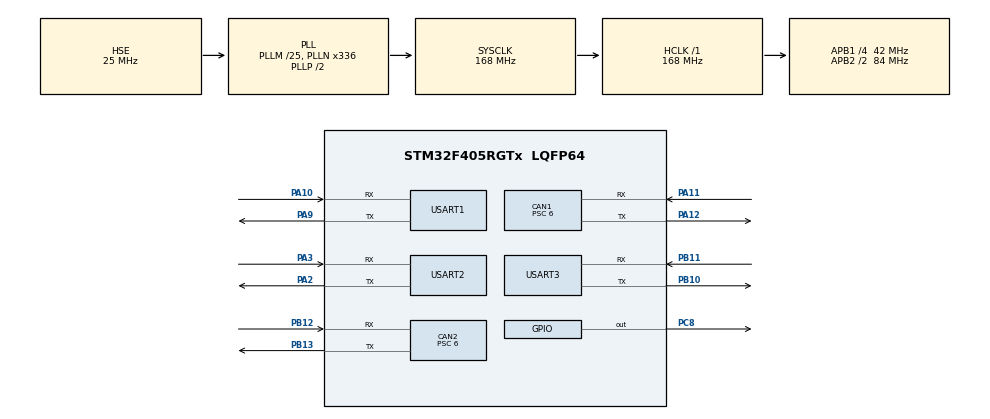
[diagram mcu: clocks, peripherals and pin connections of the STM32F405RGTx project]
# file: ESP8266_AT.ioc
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CAN1.BS1=CAN_BS1_4TQ
CAN1.BS2=CAN_BS2_2TQ
CAN1.CalculateBaudRate=1000000
CAN1.CalculateTimeBit=1000
CAN1.CalculateTimeQuantum=142.85714285714286
CAN1.Prescaler=6
CAN2.BS1=CAN_BS1_4TQ
CAN2.BS2=CAN_BS2_2TQ
CAN2.CalculateBaudRate=1000000
CAN2.CalculateTimeBit=1000
CAN2.CalculateTimeQuantum=142.85714285714286
CAN2.Prescaler=6
Dma.Request0=USART2_RX
Dma.Request1=USART2_TX
Dma.Request2=USART1_RX
Dma.USART1_RX.2.Direction=DMA_PERIPH_TO_MEMORY
Dma.USART1_RX.2.FIFOMode=DMA_FIFOMODE_DISABLE
Dma.USART1_RX.2.Instance=DMA2_Stream2
Dma.USART1_RX.2.MemDataAlignment=DMA_MDATAALIGN_BYTE
Dma.USART1_RX.2.MemInc=DMA_MINC_ENABLE
Dma.USART1_RX.2.Mode=DMA_CIRCULAR
Dma.USART1_RX.2.PeriphDataAlignment=DMA_PDATAALIGN_BYTE
Dma.USART1_RX.2.PeriphInc=DMA_PINC_DISABLE
Dma.USART1_RX.2.Priority=DMA_PRIORITY_LOW
Dma.USART2_RX.0.Direction=DMA_PERIPH_TO_MEMORY
Dma.USART2_RX.0.FIFOMode=DMA_FIFOMODE_DISABLE
Dma.USART2_RX.0.Instance=DMA1_Stream5
Dma.USART2_RX.0.MemDataAlignment=DMA_MDATAALIGN_BYTE
Dma.USART2_RX.0.MemInc=DMA_MINC_ENABLE
Dma.USART2_RX.0.Mode=DMA_CIRCULAR
Dma.USART2_RX.0.PeriphDataAlignment=DMA_PDATAALIGN_BYTE
Dma.USART2_RX.0.PeriphInc=DMA_PINC_DISABLE
Dma.USART2_RX.0.Priority=DMA_PRIORITY_LOW
Dma.USART2_TX.1.Direction=DMA_MEMORY_TO_PERIPH
Dma.USART2_TX.1.FIFOMode=DMA_FIFOMODE_DISABLE
Dma.USART2_TX.1.Instance=DMA1_Stream6
Dma.USART2_TX.1.MemDataAlignment=DMA_MDATAALIGN_BYTE
Dma.USART2_TX.1.MemInc=DMA_MINC_ENABLE
Dma.USART2_TX.1.Mode=DMA_NORMAL
Dma.USART2_TX.1.PeriphDataAlignment=DMA_PDATAALIGN_BYTE
Dma.USART2_TX.1.PeriphInc=DMA_PINC_DISABLE
Dma.USART2_TX.1.Priority=DMA_PRIORITY_LOW
FREERTOS.Tasks01=flag_master,24,256,Start_flag_master,Default,NULL,Dynamic,NULL,NULL;moving_ctrl_det,24,512,Start_moving_ctrl_detect,Default,NULL,Dynamic,NULL,NULL
Mcu.Family=STM32F4
Mcu.Name=STM32F405RGTx
Mcu.Package=LQFP64
NVIC.CAN1_RX1_IRQn=true\:5\:0\:false\:false\:true\:true\:true\:true\:true
NVIC.CAN1_SCE_IRQn=true\:5\:0\:false\:false\:true\:true\:true\:true\:true
NVIC.CAN2_RX1_IRQn=true\:5\:0\:false\:false\:true\:true\:true\:true\:true
NVIC.CAN2_SCE_IRQn=true\:5\:0\:false\:false\:true\:true\:true\:true\:true
NVIC.DMA1_Stream5_IRQn=true\:5\:0\:false\:false\:true\:true\:false\:true\:true
NVIC.DMA1_Stream6_IRQn=true\:5\:0\:false\:false\:true\:true\:false\:true\:true
NVIC.DMA2_Stream2_IRQn=true\:5\:0\:false\:false\:true\:true\:false\:true\:true
NVIC.PriorityGroup=NVIC_PRIORITYGROUP_4
NVIC.RCC_IRQn=true\:5\:0\:false\:false\:true\:true\:true\:false\:true
NVIC.TIM2_IRQn=true\:15\:0\:false\:false\:true\:false\:true\:true\:true
NVIC.TimeBase=TIM2_IRQn
NVIC.TimeBaseIP=TIM2
NVIC.USART1_IRQn=true\:5\:0\:false\:false\:true\:true\:true\:true\:true
NVIC.USART2_IRQn=true\:5\:0\:false\:false\:true\:true\:true\:true\:true
NVIC.USART3_IRQn=true\:5\:0\:false\:false\:true\:true\:true\:true\:true
PA10.Mode=Asynchronous
PA10.Signal=USART1_RX
PA11.Mode=CAN_Activate
PA11.Signal=CAN1_RX
PA12.Mode=CAN_Activate
PA12.Signal=CAN1_TX
PA13.Mode=Serial_Wire
PA13.Signal=SYS_JTMS-SWDIO
PA14.Mode=Serial_Wire
PA14.Signal=SYS_JTCK-SWCLK
PA2.GPIO_PuPd=GPIO_PULLUP
PA2.Mode=Asynchronous
PA2.Signal=USART2_TX
PA3.GPIO_PuPd=GPIO_PULLUP
PA3.Mode=Asynchronous
PA3.Signal=USART2_RX
PA9.Mode=Asynchronous
PA9.Signal=USART1_TX
PB10.Mode=Asynchronous
PB10.Signal=USART3_TX
PB11.Mode=Asynchronous
PB11.Signal=USART3_RX
PB12.Mode=CAN_Activate
PB12.Signal=CAN2_RX
PB13.Mode=CAN_Activate
PB13.Signal=CAN2_TX
PC8.Signal=GPIO_Output
PH0-OSC_IN.Mode=HSE-External-Oscillator
PH0-OSC_IN.Signal=RCC_OSC_IN
PH1-OSC_OUT.Mode=HSE-External-Oscillator
PH1-OSC_OUT.Signal=RCC_OSC_OUT
ProjectManager.HeapSize=0x200
ProjectManager.StackSize=0x400
ProjectManager.TargetToolchain=MDK-ARM V5.32
RCC.48MHZClocksFreq_Value=84000000
RCC.AHBFreq_Value=168000000
RCC.APB1CLKDivider=RCC_HCLK_DIV4
RCC.APB1Freq_Value=42000000
RCC.APB1TimFreq_Value=84000000
RCC.APB2CLKDivider=RCC_HCLK_DIV2
RCC.APB2Freq_Value=84000000
RCC.APB2TimFreq_Value=168000000
RCC.CortexFreq_Value=168000000
RCC.HCLKFreq_Value=168000000
RCC.HSE_VALUE=25000000
RCC.HSI_VALUE=16000000
RCC.LSE_VALUE=32768
RCC.PLLM=25
RCC.PLLN=336
RCC.PLLSourceVirtual=RCC_PLLSOURCE_HSE
RCC.SYSCLKFreq_VALUE=168000000
RCC.SYSCLKSource=RCC_SYSCLKSOURCE_PLLCLK
RCC.VCOOutputFreq_Value=336000000
USART1.VirtualMode=VM_ASYNC
USART2.VirtualMode=VM_ASYNC
USART3.VirtualMode=VM_ASYNC
VP_FREERTOS_VS_CMSIS_V2.Mode=CMSIS_V2
VP_SYS_VS_tim2.Mode=TIM2
board=custom

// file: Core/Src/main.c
/* USER CODE BEGIN Header */
/**
  ******************************************************************************
  * @file           : main.c
  * @brief          : Main program body
  ******************************************************************************
  * @attention
  *
  * Copyright (c) 2023 STMicroelectronics.
  * All rights reserved.
  *
  * This software is licensed under terms that can be found in the LICENSE file
  * in the root directory of this software component.
  * If no LICENSE file comes with this software, it is provided AS-IS.
  *
  ******************************************************************************
  */
/* USER CODE END Header */
#include "main.h"
#include "cmsis_os.h"
#include "can.h"
#include "dma.h"
#include "usart.h"
#include "gpio.h"

/* USER CODE BEGIN Includes */
#include "moving_ctrl.h"
#include "vision.h"
#include "RM3508.h"
#include "can_bsp.h"

/* USER CODE END Includes */

void SystemClock_Config(void);
void MX_FREERTOS_Init(void);

int main(void)
{

  /* MCU Configuration--------------------------------------------------------*/

  /* Reset of all peripherals, Initializes the Flash interface and the Systick. */
  HAL_Init();

  /* Configure the system clock */
  SystemClock_Config();

  /* Initialize all configured peripherals */
  MX_GPIO_Init();
  MX_DMA_Init();
  MX_USART1_UART_Init();
  MX_USART2_UART_Init();
  MX_USART3_UART_Init();
  MX_CAN1_Init();
  MX_CAN2_Init();
  /* USER CODE BEGIN 2 */

	CAN_Init(&hcan1);
	CAN_Init(&hcan2);
	__HAL_UART_ENABLE_IT(&huart1,UART_IT_IDLE);
			HAL_UART_Receive_DMA(&huart1,Rx_Buffer,32);
//	__HAL_UART_ENABLE_IT(&huart2,UART_IT_RXNE);
  /* USER CODE END 2 */

  /* Init scheduler */
  osKernelInitialize();  /* Call init function for freertos objects (in freertos.c) */
  MX_FREERTOS_Init();

  /* Start scheduler */
  osKernelStart();

  /* We should never get here as control is now taken by the scheduler */
  /* Infinite loop */
  /* USER CODE BEGIN WHILE */

  while (1)
  {

//		vision_get_data();
//		move_ctrl_DataReceive();
    /* USER CODE END WHILE */

  }
}

void SystemClock_Config(void)
{
  RCC_OscInitTypeDef RCC_OscInitStruct = {0};
  RCC_ClkInitTypeDef RCC_ClkInitStruct = {0};

  /** Configure the main internal regulator output voltage
  */
  __HAL_RCC_PWR_CLK_ENABLE();
  __HAL_PWR_VOLTAGESCALING_CONFIG(PWR_REGULATOR_VOLTAGE_SCALE1);

  /** Initializes the RCC Oscillators according to the specified parameters
  * in the RCC_OscInitTypeDef structure.
  */
  RCC_OscInitStruct.OscillatorType = RCC_OSCILLATORTYPE_HSE;
  RCC_OscInitStruct.HSEState = RCC_HSE_ON;
  RCC_OscInitStruct.PLL.PLLState = RCC_PLL_ON;
  RCC_OscInitStruct.PLL.PLLSource = RCC_PLLSOURCE_HSE;
  RCC_OscInitStruct.PLL.PLLM = 25;
  RCC_OscInitStruct.PLL.PLLN = 336;
  RCC_OscInitStruct.PLL.PLLP = RCC_PLLP_DIV2;
  RCC_OscInitStruct.PLL.PLLQ = 4;
  if (HAL_RCC_OscConfig(&RCC_OscInitStruct) != HAL_OK)
  {
    Error_Handler();
  }

  /** Initializes the CPU, AHB and APB buses clocks
  */
  RCC_ClkInitStruct.ClockType = RCC_CLOCKTYPE_HCLK|RCC_CLOCKTYPE_SYSCLK
                              |RCC_CLOCKTYPE_PCLK1|RCC_CLOCKTYPE_PCLK2;
  RCC_ClkInitStruct.SYSCLKSource = RCC_SYSCLKSOURCE_PLLCLK;
  RCC_ClkInitStruct.AHBCLKDivider = RCC_SYSCLK_DIV1;
  RCC_ClkInitStruct.APB1CLKDivider = RCC_HCLK_DIV4;
  RCC_ClkInitStruct.APB2CLKDivider = RCC_HCLK_DIV2;

  if (HAL_RCC_ClockConfig(&RCC_ClkInitStruct, FLASH_LATENCY_5) != HAL_OK)
  {
    Error_Handler();
  }
}

void HAL_TIM_PeriodElapsedCallback(TIM_HandleTypeDef *htim)
{
  if (htim->Instance == TIM2) {
    HAL_IncTick();
  }
}

void Error_Handler(void)
{
  __disable_irq();
  while (1)
  {
  }
}

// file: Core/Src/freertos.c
/* USER CODE BEGIN Header */
/**
  ******************************************************************************
  * File Name          : freertos.c
  * Description        : Code for freertos applications
  ******************************************************************************
  * @attention
  *
  * Copyright (c) 2023 STMicroelectronics.
  * All rights reserved.
  *
  * This software is licensed under terms that can be found in the LICENSE file
  * in the root directory of this software component.
  * If no LICENSE file comes with this software, it is provided AS-IS.
  *
  ******************************************************************************
  */
/* USER CODE END Header */

#include "FreeRTOS.h"
#include "task.h"
#include "main.h"
#include "cmsis_os.h"

/* USER CODE BEGIN Includes */
#include "moving_ctrl.h"
#include "moving_motor.h"

/* USER CODE END Includes */

/* Definitions for flag_master */
osThreadId_t flag_masterHandle;
const osThreadAttr_t flag_master_attributes = {
  .name = "flag_master",
  .stack_size = 256 * 4,
  .priority = (osPriority_t) osPriorityNormal,
};
/* Definitions for moving_ctrl_det */
osThreadId_t moving_ctrl_detHandle;
const osThreadAttr_t moving_ctrl_det_attributes = {
  .name = "moving_ctrl_det",
  .stack_size = 512 * 4,
  .priority = (osPriority_t) osPriorityNormal,
};

void Start_flag_master(void *argument);
void Start_moving_ctrl_detect(void *argument);

void MX_FREERTOS_Init(void); /* (MISRA C 2004 rule 8.1) */

void MX_FREERTOS_Init(void) {
  /* USER CODE BEGIN Init */
//	vTaskSuspend(moving_ctrl_detHandle);

  /* USER CODE END Init */

  /* Create the thread(s) */
  /* creation of flag_master */
  flag_masterHandle = osThreadNew(Start_flag_master, NULL, &flag_master_attributes);

  /* creation of moving_ctrl_det */
  moving_ctrl_detHandle = osThreadNew(Start_moving_ctrl_detect, NULL, &moving_ctrl_det_attributes);

}

void Start_flag_master(void *argument)
{
  for(;;)
  {
    osDelay(1);
  }
}

void Start_moving_ctrl_detect(void *argument)
{
  /* USER CODE BEGIN Start_moving_ctrl_detect */
  /* Infinite loop */
  for(;;)
  {
		move_ctrl_DataReceive();//�?启接�?
		osDelay(10);
		/*判断任务id*/
		if(motor_task_id!=0)
		{
			switch(motor_task_id)
			{
				case 3:
				{
					moving_forward();//�?
				}
			}
		}
		else if(motor_task_id==0)
		{
			moving_stop();
		}
    osDelay(1);
  }
  /* USER CODE END Start_moving_ctrl_detect */
}
